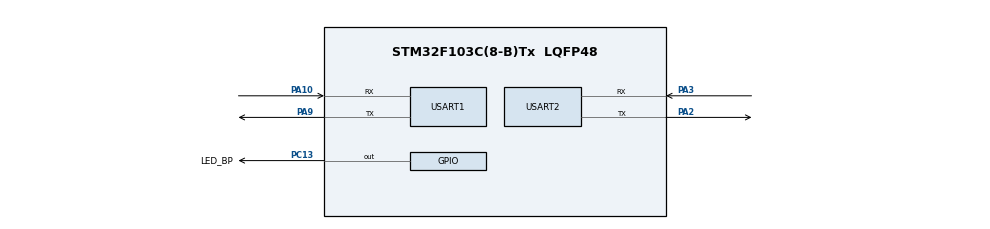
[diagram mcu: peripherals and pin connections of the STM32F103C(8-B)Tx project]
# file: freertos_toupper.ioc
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FREERTOS.Tasks01=defaultTask,24,128,StartDefaultTask,Default,NULL,Dynamic,NULL,NULL
FREERTOS.configUSE_NEWLIB_REENTRANT=1
Mcu.Family=STM32F1
Mcu.Name=STM32F103C(8-B)Tx
Mcu.Package=LQFP48
NVIC.PriorityGroup=NVIC_PRIORITYGROUP_4
NVIC.TIM1_UP_IRQn=true\:15\:0\:false\:false\:true\:false\:false\:true\:true
NVIC.TimeBase=TIM1_UP_IRQn
NVIC.TimeBaseIP=TIM1
NVIC.USART1_IRQn=true\:5\:0\:false\:false\:true\:true\:true\:true\:true
NVIC.USART2_IRQn=true\:5\:0\:false\:false\:true\:true\:true\:true\:true
PA10.Mode=Asynchronous
PA10.Signal=USART1_RX
PA13.Mode=Serial_Wire
PA13.Signal=SYS_JTMS-SWDIO
PA14.Mode=Serial_Wire
PA14.Signal=SYS_JTCK-SWCLK
PA2.Mode=Asynchronous
PA2.Signal=USART2_TX
PA3.Mode=Asynchronous
PA3.Signal=USART2_RX
PA9.Mode=Asynchronous
PA9.Signal=USART1_TX
PC13-TAMPER-RTC.GPIO_Label=LED_BP
PC13-TAMPER-RTC.Signal=GPIO_Output
PC14-OSC32_IN.Mode=LSE-External-Oscillator
PC14-OSC32_IN.Signal=RCC_OSC32_IN
PC15-OSC32_OUT.Mode=LSE-External-Oscillator
PC15-OSC32_OUT.Signal=RCC_OSC32_OUT
PD0-OSC_IN.Mode=HSE-External-Oscillator
PD0-OSC_IN.Signal=RCC_OSC_IN
PD1-OSC_OUT.Mode=HSE-External-Oscillator
PD1-OSC_OUT.Signal=RCC_OSC_OUT
ProjectManager.HeapSize=0x200
ProjectManager.StackSize=0x400
ProjectManager.TargetToolchain=STM32CubeIDE
RCC.APB1Freq_Value=8000000
RCC.APB2Freq_Value=8000000
USART1.VirtualMode=VM_ASYNC
USART2.VirtualMode=VM_ASYNC
VP_FREERTOS_VS_CMSIS_V2.Mode=CMSIS_V2
VP_SYS_VS_tim1.Mode=TIM1
board=custom

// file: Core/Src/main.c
/* USER CODE BEGIN Header */
/**
  ******************************************************************************
  * @file           : main.c
  * @brief          : Main program body
  ******************************************************************************
  * @attention
  *
  * Copyright (c) 2025 STMicroelectronics.
  * All rights reserved.
  *
  * This software is licensed under terms that can be found in the LICENSE file
  * in the root directory of this software component.
  * If no LICENSE file comes with this software, it is provided AS-IS.
  *
  ******************************************************************************
  */
/* USER CODE END Header */
#include "main.h"
#include "cmsis_os.h"

/* USER CODE BEGIN Includes */
#include "task.h"
#include "queue.h"
#include <ctype.h>
/* USER CODE END Includes */

/* USER CODE BEGIN PD */
#define LEN_COLAS_SERIE  (20)
/* USER CODE END PD */

UART_HandleTypeDef huart1;
UART_HandleTypeDef huart2;

/* Definitions for defaultTask */
osThreadId_t defaultTaskHandle;
const osThreadAttr_t defaultTask_attributes = {
  .name = "defaultTask",
  .stack_size = 128 * 4,
  .priority = (osPriority_t) osPriorityNormal,
};
/* USER CODE BEGIN PV */
static xQueueHandle cola_rx, cola_tx;
static uint8_t dato_rx_irq;

/* USER CODE END PV */

void SystemClock_Config(void);
static void MX_GPIO_Init(void);
static void MX_USART2_UART_Init(void);
static void MX_USART1_UART_Init(void);
void StartDefaultTask(void *argument);

/* USER CODE BEGIN 0 */

void HAL_UART_RxCpltCallback(UART_HandleTypeDef *huart)
{
	BaseType_t pxHigherPriorityTaskWoken = pdFALSE;

	xQueueSendFromISR(cola_rx, &dato_rx_irq, &pxHigherPriorityTaskWoken);
	HAL_UART_Receive_IT(&huart1, &dato_rx_irq, 1);

	portEND_SWITCHING_ISR(pxHigherPriorityTaskWoken);
}

void tarea_serie_tx(void *p)
{
	uint8_t dato_tx;

	while (1) {
		if (uxQueueMessagesWaiting(cola_tx) > 0) {
			if (HAL_UART_GetState(&huart1) != HAL_UART_STATE_BUSY_TX_RX) {
				xQueueReceive(cola_tx, &dato_tx, 0);
				HAL_UART_Transmit_IT(&huart1, &dato_tx, 1);
			}
		}
		vTaskDelay(1);
	}
}

void tarea_upper(void *p)
{
	uint8_t dato_rx, dato_tx;

	HAL_UART_Receive_IT(&huart1, &dato_rx_irq, 1);

	while (1) {
		xQueueReceive(cola_rx, &dato_rx, portMAX_DELAY);
		dato_tx = toupper(dato_rx);
		xQueueSend(cola_tx, &dato_tx, 0);
	}
}
/* USER CODE END 0 */

int main(void)
{

  /* MCU Configuration--------------------------------------------------------*/

  /* Reset of all peripherals, Initializes the Flash interface and the Systick. */
  HAL_Init();

  /* Configure the system clock */
  SystemClock_Config();

  /* Initialize all configured peripherals */
  MX_GPIO_Init();
  MX_USART2_UART_Init();
  MX_USART1_UART_Init();

  /* Init scheduler */
  osKernelInitialize();

  /* USER CODE BEGIN RTOS_QUEUES */
	/* add queues, ... */
	cola_rx = xQueueCreate(LEN_COLAS_SERIE, sizeof(uint8_t));
	cola_tx = xQueueCreate(LEN_COLAS_SERIE, sizeof(uint8_t));
  /* USER CODE END RTOS_QUEUES */

  /* Create the thread(s) */
  /* creation of defaultTask */
  defaultTaskHandle = osThreadNew(StartDefaultTask, NULL, &defaultTask_attributes);

  /* USER CODE BEGIN RTOS_THREADS */
	/* add threads, ... */
	xTaskCreate(tarea_upper,    "tarea_upper",    configMINIMAL_STACK_SIZE, NULL, osPriorityNormal, NULL);
 	xTaskCreate(tarea_serie_tx, "tarea_serie_tx", configMINIMAL_STACK_SIZE, NULL, osPriorityNormal, NULL);
  /* USER CODE END RTOS_THREADS */

  /* Start scheduler */
  osKernelStart();

  /* We should never get here as control is now taken by the scheduler */

  /* Infinite loop */
	while (1)
	{

	}
}

void SystemClock_Config(void)
{
  RCC_OscInitTypeDef RCC_OscInitStruct = {0};
  RCC_ClkInitTypeDef RCC_ClkInitStruct = {0};

  /** Initializes the RCC Oscillators according to the specified parameters
  * in the RCC_OscInitTypeDef structure.
  */
  RCC_OscInitStruct.OscillatorType = RCC_OSCILLATORTYPE_HSI;
  RCC_OscInitStruct.HSIState = RCC_HSI_ON;
  RCC_OscInitStruct.HSICalibrationValue = RCC_HSICALIBRATION_DEFAULT;
  RCC_OscInitStruct.PLL.PLLState = RCC_PLL_NONE;
  if (HAL_RCC_OscConfig(&RCC_OscInitStruct) != HAL_OK)
  {
    Error_Handler();
  }

  /** Initializes the CPU, AHB and APB buses clocks
  */
  RCC_ClkInitStruct.ClockType = RCC_CLOCKTYPE_HCLK|RCC_CLOCKTYPE_SYSCLK
                              |RCC_CLOCKTYPE_PCLK1|RCC_CLOCKTYPE_PCLK2;
  RCC_ClkInitStruct.SYSCLKSource = RCC_SYSCLKSOURCE_HSI;
  RCC_ClkInitStruct.AHBCLKDivider = RCC_SYSCLK_DIV1;
  RCC_ClkInitStruct.APB1CLKDivider = RCC_HCLK_DIV1;
  RCC_ClkInitStruct.APB2CLKDivider = RCC_HCLK_DIV1;

  if (HAL_RCC_ClockConfig(&RCC_ClkInitStruct, FLASH_LATENCY_0) != HAL_OK)
  {
    Error_Handler();
  }
}

static void MX_USART1_UART_Init(void)
{

  huart1.Instance = USART1;
  huart1.Init.BaudRate = 115200;
  huart1.Init.WordLength = UART_WORDLENGTH_8B;
  huart1.Init.StopBits = UART_STOPBITS_1;
  huart1.Init.Parity = UART_PARITY_NONE;
  huart1.Init.Mode = UART_MODE_TX_RX;
  huart1.Init.HwFlowCtl = UART_HWCONTROL_NONE;
  huart1.Init.OverSampling = UART_OVERSAMPLING_16;
  if (HAL_UART_Init(&huart1) != HAL_OK)
  {
    Error_Handler();
  }

}

static void MX_USART2_UART_Init(void)
{

  huart2.Instance = USART2;
  huart2.Init.BaudRate = 115200;
  huart2.Init.WordLength = UART_WORDLENGTH_8B;
  huart2.Init.StopBits = UART_STOPBITS_1;
  huart2.Init.Parity = UART_PARITY_NONE;
  huart2.Init.Mode = UART_MODE_TX_RX;
  huart2.Init.HwFlowCtl = UART_HWCONTROL_NONE;
  huart2.Init.OverSampling = UART_OVERSAMPLING_16;
  if (HAL_UART_Init(&huart2) != HAL_OK)
  {
    Error_Handler();
  }

}

static void MX_GPIO_Init(void)
{
  GPIO_InitTypeDef GPIO_InitStruct = {0};

  /* GPIO Ports Clock Enable */
  __HAL_RCC_GPIOC_CLK_ENABLE();
  __HAL_RCC_GPIOD_CLK_ENABLE();
  __HAL_RCC_GPIOA_CLK_ENABLE();

  /*Configure GPIO pin Output Level */
  HAL_GPIO_WritePin(LED_BP_GPIO_Port, LED_BP_Pin, GPIO_PIN_RESET);

  /*Configure GPIO pin : LED_BP_Pin */
  GPIO_InitStruct.Pin = LED_BP_Pin;
  GPIO_InitStruct.Mode = GPIO_MODE_OUTPUT_PP;
  GPIO_InitStruct.Pull = GPIO_NOPULL;
  GPIO_InitStruct.Speed = GPIO_SPEED_FREQ_LOW;
  HAL_GPIO_Init(LED_BP_GPIO_Port, &GPIO_InitStruct);

}

void StartDefaultTask(void *argument)
{
  for(;;)
  {
    osDelay(1);
  }
}

void HAL_TIM_PeriodElapsedCallback(TIM_HandleTypeDef *htim)
{
  if (htim->Instance == TIM1)
  {
    HAL_IncTick();
  }
}

void Error_Handler(void)
{
  __disable_irq();
  while (1)
  {
  }
}
